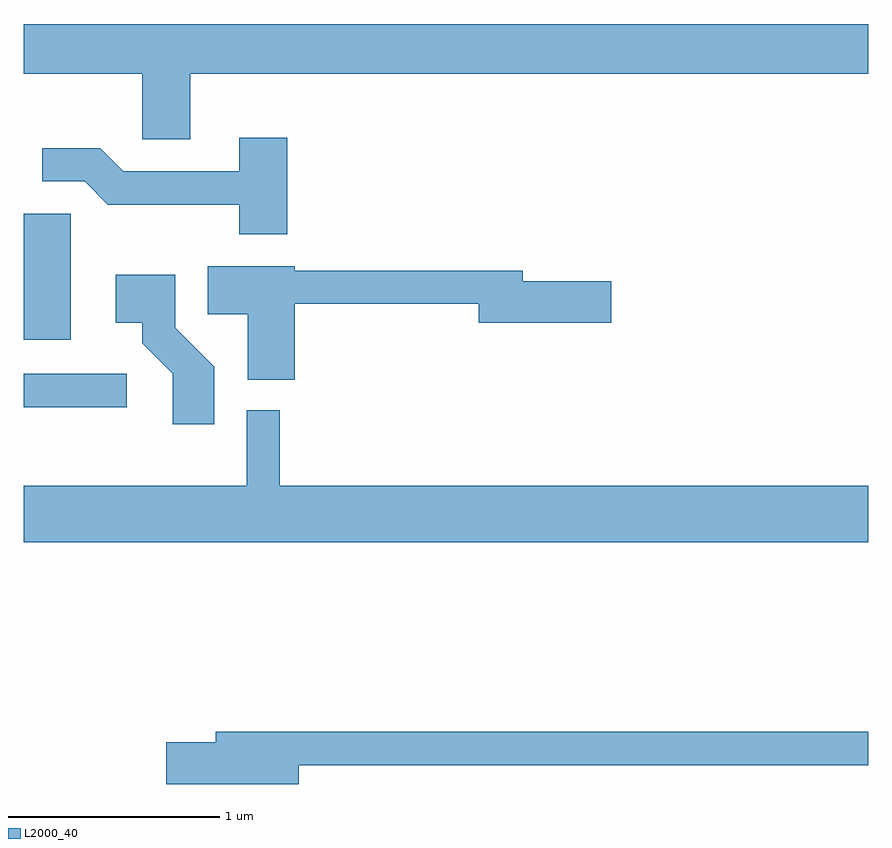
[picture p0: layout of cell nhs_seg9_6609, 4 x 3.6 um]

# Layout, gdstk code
import gdstk
lib = gdstk.Library(unit=1e-6, precision=1e-09)
def R(c, l, rs):  # rectangles x0, y0, x1, y1
    for r in rs: c.add(gdstk.rectangle(r[:2], r[2:], *l))
def P(c, l, *ps):  # polygons
    for p in ps: c.add(gdstk.Polygon(p, *l))
L2000_40 = (2000, 40)

nhs_seg9_6609 = lib.new_cell('nhs_seg9_6609')
R(nhs_seg9_6609, L2000_40, [(379.611,2054.616,380.098,2054.774), (379.611,2054.936,379.834,2055.534)])
P(nhs_seg9_6609, L2000_40, [(380.399,2056.196),(383.611,2056.196),(383.611,2056.432),(379.611,2056.432),(379.611,2056.196),(380.171,2056.196),(380.171,2055.886),(380.399,2055.886)],
  [(380.859,2055.894),(380.631,2055.894),(380.631,2055.734),(380.082,2055.734),(379.972,2055.844),(379.698,2055.844),(379.698,2055.686),(379.899,2055.686),(380.009,2055.576),(380.631,2055.576),(380.631,2055.436),(380.859,2055.436)],
  [(380.894,2055.106),(381.766,2055.106),(381.766,2055.016),(382.394,2055.016),(382.394,2055.214),(381.974,2055.214),(381.974,2055.264),(380.894,2055.264),(380.894,2055.284),(380.481,2055.284),(380.481,2055.056),(380.671,2055.056),(380.671,2054.746),(380.894,2054.746)],
  [(380.514,2054.807),(380.329,2054.992),(380.329,2055.244),(380.046,2055.244),(380.046,2055.016),(380.171,2055.016),(380.171,2054.919),(380.316,2054.774),(380.316,2054.536),(380.514,2054.536)],
  [(383.611,2054.244),(380.824,2054.244),(380.824,2054.603),(380.666,2054.603),(380.666,2054.244),(379.611,2054.244),(379.611,2053.976),(383.611,2053.976)],
  [(380.914,2052.921),(383.611,2052.921),(383.611,2053.079),(380.521,2053.079),(380.521,2053.029),(380.286,2053.029),(380.286,2052.831),(380.914,2052.831)])

lib.write_gds('nhs_seg9_6609.gds')
